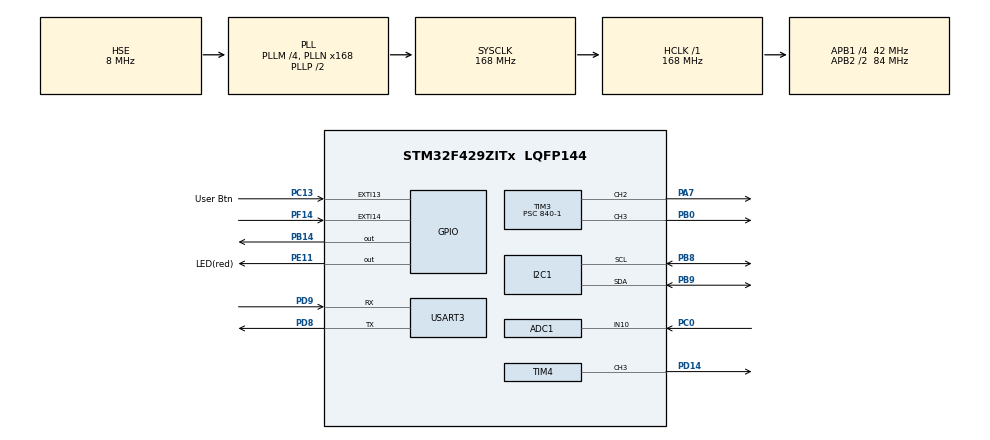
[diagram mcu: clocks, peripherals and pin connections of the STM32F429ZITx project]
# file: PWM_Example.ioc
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ADC1.Channel-0\#ChannelRegularConversion=ADC_CHANNEL_10
ADC1.NbrOfConversionFlag=1
ADC1.Rank-0\#ChannelRegularConversion=1
ADC1.Resolution=ADC_RESOLUTION_10B
ADC1.SamplingTime-0\#ChannelRegularConversion=ADC_SAMPLETIME_3CYCLES
ADC1.master=1
Mcu.Family=STM32F4
Mcu.Name=STM32F429ZITx
Mcu.Package=LQFP144
NVIC.ADC_IRQn=true\:0\:0\:false\:true\:true\:1\:true\:true\:true
NVIC.EXTI15_10_IRQn=true\:0\:0\:false\:true\:true\:3\:true\:true\:true
NVIC.PriorityGroup=NVIC_PRIORITYGROUP_4
NVIC.TIM2_IRQn=true\:0\:0\:false\:true\:true\:4\:true\:true\:true
NVIC.TIM3_IRQn=true\:0\:0\:false\:true\:true\:5\:true\:true\:true
NVIC.USART3_IRQn=true\:0\:0\:false\:true\:true\:2\:true\:true\:true
PA7.Signal=S_TIM3_CH2
PB0.Signal=S_TIM3_CH3
PB14.Signal=GPIO_Output
PB8.Mode=I2C
PB8.Signal=I2C1_SCL
PB9.Mode=I2C
PB9.Signal=I2C1_SDA
PC0.Signal=ADCx_IN10
PC13.GPIO_Label=User Btn
PC13.Signal=GPXTI13
PC14/OSC32_IN.Mode=LSE-External-Oscillator
PC14/OSC32_IN.Signal=RCC_OSC32_IN
PC15/OSC32_OUT.Mode=LSE-External-Oscillator
PC15/OSC32_OUT.Signal=RCC_OSC32_OUT
PD14.Signal=S_TIM4_CH3
PD8.Mode=Asynchronous
PD8.Signal=USART3_TX
PD9.Mode=Asynchronous
PD9.Signal=USART3_RX
PE11.GPIO_Label=LED(red)
PE11.Signal=GPIO_Output
PF14.Signal=GPXTI14
PH0/OSC_IN.Mode=HSE-External-Clock-Source
PH0/OSC_IN.Signal=RCC_OSC_IN
PH1/OSC_OUT.Mode=HSE-External-Clock-Source
PH1/OSC_OUT.Signal=RCC_OSC_OUT
ProjectManager.HeapSize=0x200
ProjectManager.StackSize=0x400
ProjectManager.TargetToolchain=STM32CubeIDE
RCC.48MHZClocksFreq_Value=84000000
RCC.AHBFreq_Value=168000000
RCC.APB1CLKDivider=RCC_HCLK_DIV4
RCC.APB1Freq_Value=42000000
RCC.APB1TimFreq_Value=84000000
RCC.APB2CLKDivider=RCC_HCLK_DIV2
RCC.APB2Freq_Value=84000000
RCC.APB2TimFreq_Value=168000000
RCC.CortexFreq_Value=168000000
RCC.HCLKFreq_Value=168000000
RCC.HSE_VALUE=8000000
RCC.HSI_VALUE=16000000
RCC.PLLM=4
RCC.PLLN=168
RCC.PLLSourceVirtual=RCC_PLLSOURCE_HSE
RCC.SYSCLKFreq_VALUE=168000000
RCC.SYSCLKSource=RCC_SYSCLKSOURCE_PLLCLK
RCC.VCOOutputFreq_Value=336000000
SH.ADCx_IN10.0=ADC1_IN10,IN10
SH.S_TIM3_CH2.0=TIM3_CH2,PWM Generation2 CH2
SH.S_TIM3_CH3.0=TIM3_CH3,PWM Generation3 CH3
SH.S_TIM4_CH3.0=TIM4_CH3,PWM Generation3 CH3
TIM2.Period=1000-1
TIM2.Prescaler=8400-1
TIM3.Channel-PWM\ Generation2\ CH2=TIM_CHANNEL_2
TIM3.Channel-PWM\ Generation3\ CH3=TIM_CHANNEL_3
TIM3.Period=2000-1
TIM3.Prescaler=840-1
TIM3.Pulse-PWM\ Generation2\ CH2=100-1
TIM4.Channel-PWM\ Generation3\ CH3=TIM_CHANNEL_3
TIM4.Period=250-1
TIM4.Prescaler=840-1
TIM4.Pulse-PWM\ Generation3\ CH3=125
USART3.VirtualMode=VM_ASYNC
VP_TIM2_VS_ClockSourceINT.Mode=Internal
board=custom

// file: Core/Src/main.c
/* USER CODE BEGIN Header */
/**
  ******************************************************************************
  * @file           : main.c
  * @brief          : Main program body
  ******************************************************************************
  * @attention
  *
  * Copyright (c) 2023 STMicroelectronics.
  * All rights reserved.
  *
  * This software is licensed under terms that can be found in the LICENSE file
  * in the root directory of this software component.
  * If no LICENSE file comes with this software, it is provided AS-IS.
  *
  ******************************************************************************
  */
/* USER CODE END Header */
#include "main.h"

/* USER CODE BEGIN PTD */
#define LCD_ADDR (0x27 << 1)
/* USER CODE END PTD */

/* USER CODE BEGIN PD */
int adc_value = 0;
int ratio = 5;
/* USER CODE END PD */

/* USER CODE BEGIN PM */
char ADCstring[30];
char MS_Ratio[30];
int lcdPrint = 0;
/* USER CODE END PM */

ADC_HandleTypeDef hadc1; //가변저항 핸들러

I2C_HandleTypeDef hi2c1; //LCD핸들러

TIM_HandleTypeDef htim2; //LCD출력속도를 제어할 타이머
TIM_HandleTypeDef htim3; //PWM CH3 가변저항, CH2 Servo모터
TIM_HandleTypeDef htim4; //Buzzer

UART_HandleTypeDef huart3; //UART통신을 위한 핸들러

/* USER CODE BEGIN PV */
//for use printf
int _write(int file, char *ptr, int len)
{
	HAL_UART_Transmit(&huart3, (uint8_t *)ptr, len, 500);

	return len;
}
int __io_putchar(int ch)
{
	HAL_UART_Transmit(&huart3, (uint8_t *)&ch, 1, 1000);
	return ch;
}

//for use scanf
int _read(int file, char *ptr, int len)
{
	HAL_UART_Receive(&huart3, (unsigned char*)ptr, len, HAL_MAX_DELAY);
	return len;
}
int __io_getchar(void)
{
	uint8_t ch = 0;
	HAL_UART_Receive(&huart3, (uint8_t *)&ch, 1, HAL_MAX_DELAY);
	return ch;
}
/* USER CODE END PV */

void SystemClock_Config(void);
static void MX_GPIO_Init(void);
static void MX_ADC1_Init(void);
static void MX_TIM3_Init(void);
static void MX_USART3_UART_Init(void);
static void MX_I2C1_Init(void);
static void MX_TIM2_Init(void);
static void MX_TIM4_Init(void);
static void MX_NVIC_Init(void);

/* USER CODE BEGIN 0 */
int scaling(int x) //가변저항 값의 duty ratio를 0~100으로 조정하는 함수
  {
	  return (x * 2000) / 1023;
  }

int scalingRatio(int x) //모터의 각도를 0도부터 180도까지 조정하는 함수
{
	int t = (250 * x)/10;
	if(t < 50) return 50;
	return t;
}
/* USER CODE END 0 */

int main(void)
{

  /* MCU Configuration--------------------------------------------------------*/

  /* Reset of all peripherals, Initializes the Flash interface and the Systick. */
  HAL_Init();

  /* Configure the system clock */
  SystemClock_Config();

  /* Initialize all configured peripherals */
  MX_GPIO_Init();
  MX_ADC1_Init();
  MX_TIM3_Init();
  MX_USART3_UART_Init();
  MX_I2C1_Init();
  MX_TIM2_Init();
  MX_TIM4_Init();

  /* Initialize interrupts */
  MX_NVIC_Init();
  /* USER CODE BEGIN 2 */
  HAL_ADC_Start_IT(&hadc1);
  HAL_TIM_PWM_Start(&htim3, TIM_CHANNEL_3);	//PWM3 of TIM3 start => 가변저항 PWM
  HAL_TIM_PWM_Start(&htim3, TIM_CHANNEL_2);	//PWM2 of TIM3 start => 서보모터 PWM
//  HAL_TIM_PWM_Start(&htim4, TIM_CHANNEL_3);	//PWM3 of TIM4 start BUZZ
  HAL_TIM_Base_Start_IT(&htim2);
  LCD_Init(LCD_ADDR);
  init();
  /* USER CODE END 2 */

  /* Infinite loop */
  /* USER CODE BEGIN WHILE */
  while (1)
  {
	  HAL_ADC_Start_IT(&hadc1);
	  TIM3 -> CCR3 = scaling(adc_value);
	  TIM3 -> CCR2 = scalingRatio(ratio);
	  HAL_GPIO_WritePin(GPIOE, GPIO_PIN_11, scaling(adc_value)); //외부 LED / pull-up저항으로 연결

	  printf("PWM CH3 value: %d, Scaling value: %d, PWM CH2 value: %d, Scaling value: %d \r\n", adc_value, scaling(adc_value), ratio, scalingRatio(ratio));
    /* USER CODE END WHILE */

    /* USER CODE BEGIN 3 */
	  sprintf(ADCstring, "ADC value : %04d    ", scaling(adc_value));
	  sprintf(MS_Ratio, "MS Ratio : %04d     ", scalingRatio(ratio));

	  if(lcdPrint == 1) //0.1초마다 TIM2에 의해 lcdPrint가 1로 바뀌어 LCD를 출력함
	  {
		  LCD_SendCommand((0x27 << 1), 0b10000000); //0x00
		  LCD_SendString((0x27 << 1), ADCstring);
		  LCD_SendCommand((0x27 << 1), 0b11000000); //0x00
		  LCD_SendString((0x27 << 1), MS_Ratio);
		  lcdPrint = 0;
	  }
  }
  /* USER CODE END 3 */
}

void SystemClock_Config(void)
{
  RCC_OscInitTypeDef RCC_OscInitStruct = {0};
  RCC_ClkInitTypeDef RCC_ClkInitStruct = {0};

  /** Configure the main internal regulator output voltage
  */
  __HAL_RCC_PWR_CLK_ENABLE();
  __HAL_PWR_VOLTAGESCALING_CONFIG(PWR_REGULATOR_VOLTAGE_SCALE1);

  /** Initializes the RCC Oscillators according to the specified parameters
  * in the RCC_OscInitTypeDef structure.
  */
  RCC_OscInitStruct.OscillatorType = RCC_OSCILLATORTYPE_HSE;
  RCC_OscInitStruct.HSEState = RCC_HSE_BYPASS;
  RCC_OscInitStruct.PLL.PLLState = RCC_PLL_ON;
  RCC_OscInitStruct.PLL.PLLSource = RCC_PLLSOURCE_HSE;
  RCC_OscInitStruct.PLL.PLLM = 4;
  RCC_OscInitStruct.PLL.PLLN = 168;
  RCC_OscInitStruct.PLL.PLLP = RCC_PLLP_DIV2;
  RCC_OscInitStruct.PLL.PLLQ = 4;
  if (HAL_RCC_OscConfig(&RCC_OscInitStruct) != HAL_OK)
  {
    Error_Handler();
  }

  /** Initializes the CPU, AHB and APB buses clocks
  */
  RCC_ClkInitStruct.ClockType = RCC_CLOCKTYPE_HCLK|RCC_CLOCKTYPE_SYSCLK
                              |RCC_CLOCKTYPE_PCLK1|RCC_CLOCKTYPE_PCLK2;
  RCC_ClkInitStruct.SYSCLKSource = RCC_SYSCLKSOURCE_PLLCLK;
  RCC_ClkInitStruct.AHBCLKDivider = RCC_SYSCLK_DIV1;
  RCC_ClkInitStruct.APB1CLKDivider = RCC_HCLK_DIV4;
  RCC_ClkInitStruct.APB2CLKDivider = RCC_HCLK_DIV2;

  if (HAL_RCC_ClockConfig(&RCC_ClkInitStruct, FLASH_LATENCY_5) != HAL_OK)
  {
    Error_Handler();
  }
}

/**
  * @brief NVIC Configuration.
  * @retval None
  */
static void MX_NVIC_Init(void)
{
  /* ADC_IRQn interrupt configuration */
  HAL_NVIC_SetPriority(ADC_IRQn, 0, 0);
  HAL_NVIC_EnableIRQ(ADC_IRQn);
  /* USART3_IRQn interrupt configuration */
  HAL_NVIC_SetPriority(USART3_IRQn, 0, 0);
  HAL_NVIC_EnableIRQ(USART3_IRQn);
  /* EXTI15_10_IRQn interrupt configuration */
  HAL_NVIC_SetPriority(EXTI15_10_IRQn, 0, 0);
  HAL_NVIC_EnableIRQ(EXTI15_10_IRQn);
  /* TIM2_IRQn interrupt configuration */
  HAL_NVIC_SetPriority(TIM2_IRQn, 0, 0);
  HAL_NVIC_EnableIRQ(TIM2_IRQn);
  /* TIM3_IRQn interrupt configuration */
  HAL_NVIC_SetPriority(TIM3_IRQn, 0, 0);
  HAL_NVIC_EnableIRQ(TIM3_IRQn);
}

static void MX_ADC1_Init(void)
{

  ADC_ChannelConfTypeDef sConfig = {0};

  /** Configure the global features of the ADC (Clock, Resolution, Data Alignment and number of conversion)
  */
  hadc1.Instance = ADC1;
  hadc1.Init.ClockPrescaler = ADC_CLOCK_SYNC_PCLK_DIV4;
  hadc1.Init.Resolution = ADC_RESOLUTION_10B;
  hadc1.Init.ScanConvMode = DISABLE;
  hadc1.Init.ContinuousConvMode = DISABLE;
  hadc1.Init.DiscontinuousConvMode = DISABLE;
  hadc1.Init.ExternalTrigConvEdge = ADC_EXTERNALTRIGCONVEDGE_NONE;
  hadc1.Init.ExternalTrigConv = ADC_SOFTWARE_START;
  hadc1.Init.DataAlign = ADC_DATAALIGN_RIGHT;
  hadc1.Init.NbrOfConversion = 1;
  hadc1.Init.DMAContinuousRequests = DISABLE;
  hadc1.Init.EOCSelection = ADC_EOC_SINGLE_CONV;
  if (HAL_ADC_Init(&hadc1) != HAL_OK)
  {
    Error_Handler();
  }

  /** Configure for the selected ADC regular channel its corresponding rank in the sequencer and its sample time.
  */
  sConfig.Channel = ADC_CHANNEL_10;
  sConfig.Rank = 1;
  sConfig.SamplingTime = ADC_SAMPLETIME_3CYCLES;
  if (HAL_ADC_ConfigChannel(&hadc1, &sConfig) != HAL_OK)
  {
    Error_Handler();
  }

}

static void MX_I2C1_Init(void)
{

  hi2c1.Instance = I2C1;
  hi2c1.Init.ClockSpeed = 100000;
  hi2c1.Init.DutyCycle = I2C_DUTYCYCLE_2;
  hi2c1.Init.OwnAddress1 = 0;
  hi2c1.Init.AddressingMode = I2C_ADDRESSINGMODE_7BIT;
  hi2c1.Init.DualAddressMode = I2C_DUALADDRESS_DISABLE;
  hi2c1.Init.OwnAddress2 = 0;
  hi2c1.Init.GeneralCallMode = I2C_GENERALCALL_DISABLE;
  hi2c1.Init.NoStretchMode = I2C_NOSTRETCH_DISABLE;
  if (HAL_I2C_Init(&hi2c1) != HAL_OK)
  {
    Error_Handler();
  }

  /** Configure Analogue filter
  */
  if (HAL_I2CEx_ConfigAnalogFilter(&hi2c1, I2C_ANALOGFILTER_ENABLE) != HAL_OK)
  {
    Error_Handler();
  }

  /** Configure Digital filter
  */
  if (HAL_I2CEx_ConfigDigitalFilter(&hi2c1, 0) != HAL_OK)
  {
    Error_Handler();
  }

}

static void MX_TIM2_Init(void)
{

  TIM_ClockConfigTypeDef sClockSourceConfig = {0};
  TIM_MasterConfigTypeDef sMasterConfig = {0};

  htim2.Instance = TIM2;
  htim2.Init.Prescaler = 8400-1;
  htim2.Init.CounterMode = TIM_COUNTERMODE_UP;
  htim2.Init.Period = 1000-1;
  htim2.Init.ClockDivision = TIM_CLOCKDIVISION_DIV1;
  htim2.Init.AutoReloadPreload = TIM_AUTORELOAD_PRELOAD_DISABLE;
  if (HAL_TIM_Base_Init(&htim2) != HAL_OK)
  {
    Error_Handler();
  }
  sClockSourceConfig.ClockSource = TIM_CLOCKSOURCE_INTERNAL;
  if (HAL_TIM_ConfigClockSource(&htim2, &sClockSourceConfig) != HAL_OK)
  {
    Error_Handler();
  }
  sMasterConfig.MasterOutputTrigger = TIM_TRGO_RESET;
  sMasterConfig.MasterSlaveMode = TIM_MASTERSLAVEMODE_DISABLE;
  if (HAL_TIMEx_MasterConfigSynchronization(&htim2, &sMasterConfig) != HAL_OK)
  {
    Error_Handler();
  }

}

static void MX_TIM3_Init(void)
{

  TIM_MasterConfigTypeDef sMasterConfig = {0};
  TIM_OC_InitTypeDef sConfigOC = {0};

  htim3.Instance = TIM3;
  htim3.Init.Prescaler = 840-1;
  htim3.Init.CounterMode = TIM_COUNTERMODE_UP;
  htim3.Init.Period = 2000-1;
  htim3.Init.ClockDivision = TIM_CLOCKDIVISION_DIV1;
  htim3.Init.AutoReloadPreload = TIM_AUTORELOAD_PRELOAD_DISABLE;
  if (HAL_TIM_PWM_Init(&htim3) != HAL_OK)
  {
    Error_Handler();
  }
  sMasterConfig.MasterOutputTrigger = TIM_TRGO_RESET;
  sMasterConfig.MasterSlaveMode = TIM_MASTERSLAVEMODE_DISABLE;
  if (HAL_TIMEx_MasterConfigSynchronization(&htim3, &sMasterConfig) != HAL_OK)
  {
    Error_Handler();
  }
  sConfigOC.OCMode = TIM_OCMODE_PWM1;
  sConfigOC.Pulse = 100-1;
  sConfigOC.OCPolarity = TIM_OCPOLARITY_HIGH;
  sConfigOC.OCFastMode = TIM_OCFAST_DISABLE;
  if (HAL_TIM_PWM_ConfigChannel(&htim3, &sConfigOC, TIM_CHANNEL_2) != HAL_OK)
  {
    Error_Handler();
  }
  sConfigOC.Pulse = 0;
  if (HAL_TIM_PWM_ConfigChannel(&htim3, &sConfigOC, TIM_CHANNEL_3) != HAL_OK)
  {
    Error_Handler();
  }
  HAL_TIM_MspPostInit(&htim3);

}

static void MX_TIM4_Init(void)
{

  TIM_MasterConfigTypeDef sMasterConfig = {0};
  TIM_OC_InitTypeDef sConfigOC = {0};

  htim4.Instance = TIM4;
  htim4.Init.Prescaler = 840-1;
  htim4.Init.CounterMode = TIM_COUNTERMODE_UP;
  htim4.Init.Period = 250-1;
  htim4.Init.ClockDivision = TIM_CLOCKDIVISION_DIV1;
  htim4.Init.AutoReloadPreload = TIM_AUTORELOAD_PRELOAD_DISABLE;
  if (HAL_TIM_PWM_Init(&htim4) != HAL_OK)
  {
    Error_Handler();
  }
  sMasterConfig.MasterOutputTrigger = TIM_TRGO_RESET;
  sMasterConfig.MasterSlaveMode = TIM_MASTERSLAVEMODE_DISABLE;
  if (HAL_TIMEx_MasterConfigSynchronization(&htim4, &sMasterConfig) != HAL_OK)
  {
    Error_Handler();
  }
  sConfigOC.OCMode = TIM_OCMODE_PWM1;
  sConfigOC.Pulse = 125;
  sConfigOC.OCPolarity = TIM_OCPOLARITY_HIGH;
  sConfigOC.OCFastMode = TIM_OCFAST_DISABLE;
  if (HAL_TIM_PWM_ConfigChannel(&htim4, &sConfigOC, TIM_CHANNEL_3) != HAL_OK)
  {
    Error_Handler();
  }
  HAL_TIM_MspPostInit(&htim4);

}

static void MX_USART3_UART_Init(void)
{

  huart3.Instance = USART3;
  huart3.Init.BaudRate = 115200;
  huart3.Init.WordLength = UART_WORDLENGTH_8B;
  huart3.Init.StopBits = UART_STOPBITS_1;
  huart3.Init.Parity = UART_PARITY_NONE;
  huart3.Init.Mode = UART_MODE_TX_RX;
  huart3.Init.HwFlowCtl = UART_HWCONTROL_NONE;
  huart3.Init.OverSampling = UART_OVERSAMPLING_16;
  if (HAL_UART_Init(&huart3) != HAL_OK)
  {
    Error_Handler();
  }

}

static void MX_GPIO_Init(void)
{
  GPIO_InitTypeDef GPIO_InitStruct = {0};

  /* GPIO Ports Clock Enable */
  __HAL_RCC_GPIOC_CLK_ENABLE();
  __HAL_RCC_GPIOH_CLK_ENABLE();
  __HAL_RCC_GPIOA_CLK_ENABLE();
  __HAL_RCC_GPIOB_CLK_ENABLE();
  __HAL_RCC_GPIOF_CLK_ENABLE();
  __HAL_RCC_GPIOE_CLK_ENABLE();
  __HAL_RCC_GPIOD_CLK_ENABLE();

  /*Configure GPIO pin Output Level */
  HAL_GPIO_WritePin(LED_GPIO_Port, LED_Pin, GPIO_PIN_RESET);

  /*Configure GPIO pin Output Level */
  HAL_GPIO_WritePin(GPIOB, GPIO_PIN_14, GPIO_PIN_RESET);

  /*Configure GPIO pin : User_Btn_Pin */
  GPIO_InitStruct.Pin = User_Btn_Pin;
  GPIO_InitStruct.Mode = GPIO_MODE_IT_RISING;
  GPIO_InitStruct.Pull = GPIO_NOPULL;
  HAL_GPIO_Init(User_Btn_GPIO_Port, &GPIO_InitStruct);

  /*Configure GPIO pin : PF14 */
  GPIO_InitStruct.Pin = GPIO_PIN_14;
  GPIO_InitStruct.Mode = GPIO_MODE_IT_RISING;
  GPIO_InitStruct.Pull = GPIO_NOPULL;
  HAL_GPIO_Init(GPIOF, &GPIO_InitStruct);

  /*Configure GPIO pin : LED_Pin */
  GPIO_InitStruct.Pin = LED_Pin;
  GPIO_InitStruct.Mode = GPIO_MODE_OUTPUT_PP;
  GPIO_InitStruct.Pull = GPIO_NOPULL;
  GPIO_InitStruct.Speed = GPIO_SPEED_FREQ_LOW;
  HAL_GPIO_Init(LED_GPIO_Port, &GPIO_InitStruct);

  /*Configure GPIO pin : PB14 */
  GPIO_InitStruct.Pin = GPIO_PIN_14;
  GPIO_InitStruct.Mode = GPIO_MODE_OUTPUT_PP;
  GPIO_InitStruct.Pull = GPIO_NOPULL;
  GPIO_InitStruct.Speed = GPIO_SPEED_FREQ_LOW;
  HAL_GPIO_Init(GPIOB, &GPIO_InitStruct);

}

/* USER CODE BEGIN 4 */
void HAL_ADC_ConvCpltCallback(ADC_HandleTypeDef* hadc)
{
	if(hadc -> Instance == ADC1) //AD컨버터1이 호출되면
	{
		adc_value = HAL_ADC_GetValue(&hadc1); //그 값을 저장함.
	}
}

void HAL_TIM_PeriodElapsedCallback(TIM_HandleTypeDef *htim)
{
	if(htim -> Instance == htim2.Instance) // 주기가 1000/10000 => 10Hz => 0.1초마다 호출.
	{
		lcdPrint = 1;
	}
}
uint32_t start = 0; //채터링을 조절하기 위한 변수
void HAL_GPIO_EXTI_Callback(uint16_t GPIO_Pin)
{
	uint32_t currentTime = HAL_GetTick();

	if(GPIO_Pin == GPIO_PIN_13) // Left Button
	{
		if(currentTime - start > 300) { //control chattering
			ratio++;
			start = currentTime;	//start time reset
		}
		if(currentTime - start > 500)
		{

		}
		if(ratio > 10) ratio = 10;
	}

	if(GPIO_Pin == GPIO_PIN_14) // Right Button
	{
		if(currentTime - start > 500) {
			ratio--;
			start = currentTime;
		}
		if(ratio < 2) ratio =2;
	}
}
/* USER CODE END 4 */

void Error_Handler(void)
{
  __disable_irq();
  while (1)
  {
  }
}
